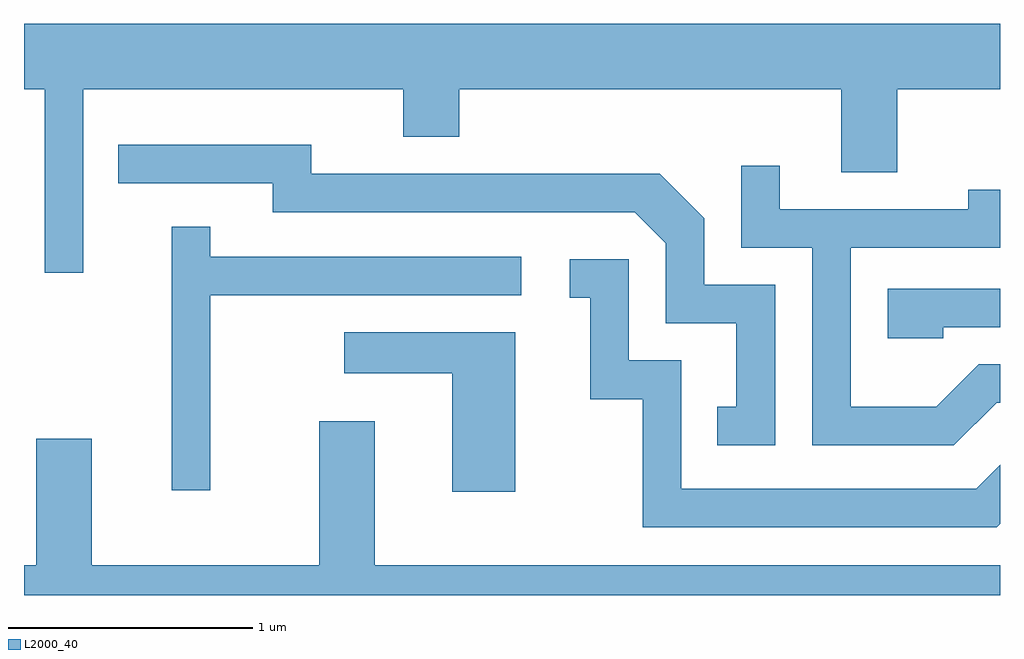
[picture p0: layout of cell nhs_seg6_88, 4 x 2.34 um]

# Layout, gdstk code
import gdstk
lib = gdstk.Library(unit=1e-6, precision=1e-09)
def P(c, l, *ps):  # polygons
    for p in ps: c.add(gdstk.Polygon(p, *l))
L2000_40 = (2000, 40)

nhs_seg6_88 = lib.new_cell('nhs_seg6_88')
P(nhs_seg6_88, L2000_40, [(187.854,1572.236),(189.166,1572.236),(189.166,1572.041),(189.394,1572.041),(189.394,1572.236),(190.961,1572.236),(190.961,1571.896),(191.189,1571.896),(191.189,1572.236),(191.611,1572.236),(191.611,1572.504),(187.611,1572.504),(187.611,1572.236),(187.696,1572.236),(187.696,1571.483),(187.854,1571.483)],
  [(190.689,1571.434),(190.399,1571.434),(190.399,1571.707),(190.217,1571.889),(188.789,1571.889),(188.789,1572.009),(187.998,1572.009),(187.998,1571.851),(188.631,1571.851),(188.631,1571.731),(190.114,1571.731),(190.241,1571.604),(190.241,1571.276),(190.531,1571.276),(190.531,1570.934),(190.453,1570.934),(190.453,1570.776),(190.689,1570.776)],
  [(191.597,1570.951),(191.611,1570.951),(191.611,1571.109),(191.524,1571.109),(191.349,1570.934),(190.999,1570.934),(190.999,1571.586),(191.611,1571.586),(191.611,1571.823),(191.481,1571.823),(191.481,1571.744),(190.709,1571.744),(190.709,1571.923),(190.551,1571.923),(190.551,1571.586),(190.841,1571.586),(190.841,1570.776),(191.422,1570.776)],
  [(188.374,1571.391),(189.648,1571.391),(189.648,1571.549),(188.374,1571.549),(188.374,1571.673),(188.216,1571.673),(188.216,1570.593),(188.374,1570.593)],
  [(191.611,1570.455),(191.611,1570.696),(191.514,1570.599),(190.304,1570.599),(190.304,1571.124),(190.089,1571.124),(190.089,1571.539),(189.848,1571.539),(189.848,1571.381),(189.931,1571.381),(189.931,1570.966),(190.146,1570.966),(190.146,1570.441),(191.597,1570.441)],
  [(191.379,1571.261),(191.611,1571.261),(191.611,1571.419),(191.151,1571.419),(191.151,1571.216),(191.379,1571.216)],
  [(189.624,1571.239),(188.923,1571.239),(188.923,1571.071),(189.366,1571.071),(189.366,1570.586),(189.624,1570.586)],
  [(191.611,1570.284),(189.049,1570.284),(189.049,1570.874),(188.821,1570.874),(188.821,1570.284),(187.889,1570.284),(187.889,1570.804),(187.661,1570.804),(187.661,1570.284),(187.611,1570.284),(187.611,1570.162),(191.611,1570.162)])

lib.write_gds('nhs_seg6_88.gds')
